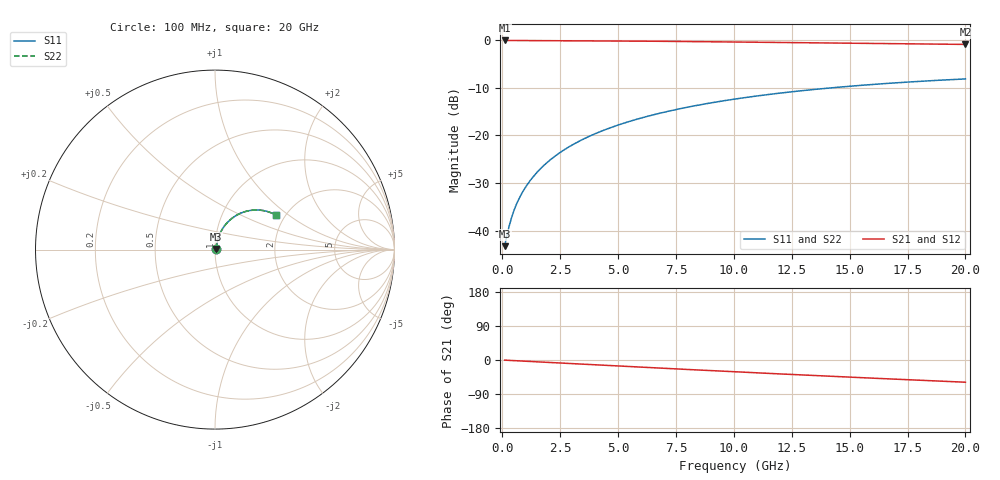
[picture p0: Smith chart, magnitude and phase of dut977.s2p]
! Touchstone file exported from HFSS 2026.1.0
!  File:  C:/ffzhzh/LocalFiles/Ansys_Project_Files/temp_train_TMRDL_977_1783159131_18472.aedt
!  Generated:  06:00:10 PM Jul  4, 2026
!  Design:  TMRDL
!  Project:  temp_train_TMRDL_977_1783159131_18472
! Variables:
!  h_bsmrdl = 2um
!  h_ox = 20um
!  h_rdl = 5um
!  h_sub = 80um
!  h_tmrdl = 2.6um
!  h_tsv = 80um
!  h_via = 3um
!  l_bsmrdl = 300um
!  l_sub = 1358.17um
!  l_tmrdl = 958.17um
!  m_sub = 200um
!  pitch = 38.63um
!  r_tsv = 6um
!  s_tmrdl = 10um
!  w_bsmrdl = 18um
!  w_sub = 500um
!  w_tmrdl = 22.13um
!  x_tsv_center1 = 969.235um
!  x_tsv_center2 = 1287.235um
!  x_tsv_center3 = 2267.535um
!  x_tsv_center4 = 2585.535um
!  x_tsv_center5 = 3565.835um
!  x_tsv_center6 = 3883.835um
# GHz S MA R 50.000000
! Terminal data exported
! Port[1] = TM_RDL1_1_T1
! Port[2] = TM_RDL1_1_T2
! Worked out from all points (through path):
!   200 points, 100 MHz to 20 GHz, reference 50 ohm
!   highest |S21| = -0.05 dB at 100 MHz (marker M1); lowest = -0.9 dB at 20 GHz (marker M2)
!   group delay of S21, straight-line fit = 8.15 ps
!   lowest |S11| = -43.3 dB at 100 MHz (marker M3), VSWR 1.01, Z = 50.6 + j0.311 ohm
!   |S11| at or under -10 dB: start of sweep to 14.24 GHz
!   |S22| runs from -43.3 to -8.1 dB; largest |S21 - S12| = 1.1e-14
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0.1  0.006847 26.7  0.9939 -0.3  0.9939 -0.3  0.006847 26.7
! Gamma 0 0 0 0
! Port Impedance 50 0 50 0
0.3  0.0112 52.5  0.9933 -1.0  0.9933 -1.0  0.0112 52.5
0.4  0.01367 57.9  0.9929 -1.3  0.9929 -1.3  0.01367 57.9
0.5  0.01614 61.6  0.9926 -1.7  0.9926 -1.7  0.01614 61.6
0.6  0.0186 64.2  0.9923 -2.0  0.9923 -2.0  0.0186 64.2
0.8  0.0235 67.8  0.9919 -2.6  0.9919 -2.6  0.0235 67.8
1  0.02842 70.1  0.9915 -3.2  0.9915 -3.2  0.02842 70.1
1.2  0.03337 71.7  0.9912 -3.9  0.9912 -3.9  0.03337 71.7
1.4  0.03837 72.8  0.9909 -4.5  0.9909 -4.5  0.03837 72.8
1.7  0.0459 73.8  0.9904 -5.5  0.9904 -5.5  0.0459 73.7
2.2  0.05853 74.3  0.9895 -7.0  0.9895 -7.0  0.05854 74.3
2.8  0.07371 74.0  0.9883 -8.9  0.9883 -8.9  0.07371 74.0
3.5  0.09131 73.0  0.9865 -11.1  0.9865 -11.1  0.09131 73.0
4.2  0.1087 71.6  0.9844 -13.3  0.9844 -13.3  0.1087 71.6
5  0.1283 69.7  0.9816 -15.8  0.9816 -15.8  0.1283 69.7
5.9  0.1498 67.4  0.9781 -18.6  0.9781 -18.6  0.1499 67.3
6.8  0.1708 64.9  0.9741 -21.3  0.9741 -21.3  0.1708 64.9
8.3  0.2043 60.8  0.9668 -25.9  0.9668 -25.9  0.2043 60.7
10.1  0.2418 55.7  0.9572 -31.2  0.9572 -31.2  0.2418 55.7
13.4  0.3025 46.6  0.9383 -40.7  0.9383 -40.7  0.3025 46.5
16.7  0.3525 37.7  0.9198 -49.9  0.9198 -49.9  0.3525 37.6
20  0.3918 29.2  0.9033 -58.7  0.9033 -58.7  0.3918 29.1
